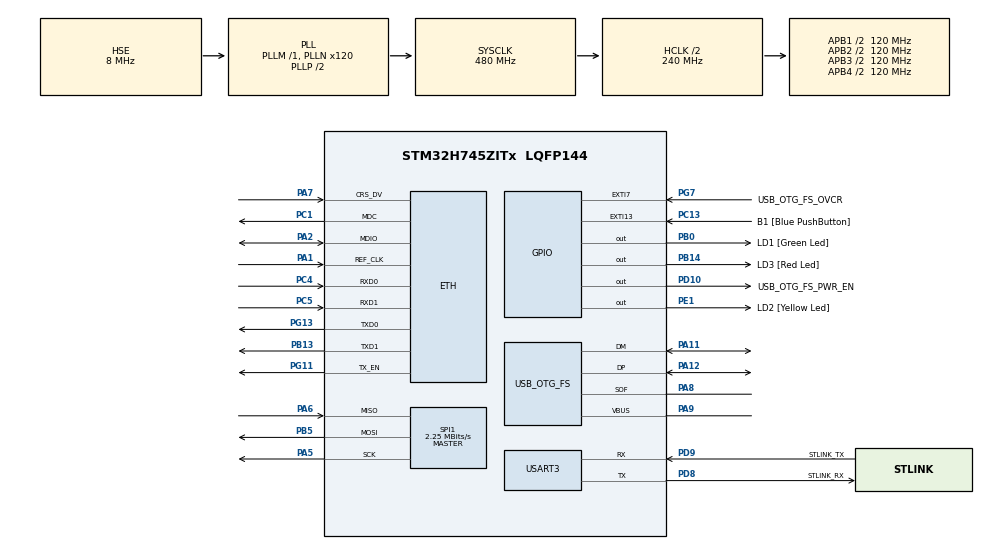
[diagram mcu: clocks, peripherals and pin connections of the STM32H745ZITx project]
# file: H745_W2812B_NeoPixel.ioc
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CortexM4.IPs=FATFS_M4\:I,FREERTOS_M4\:I,IWDG2\:I,RCC,WWDG2\:I,DMA,BDMA,MDMA,NVIC2\:I,USART3,ETH,DEBUG,USB_DEVICE_M4\:I,USB_HOST_M4\:I,PDM2PCM_M4\:I,PWR,RESMGR_UTILITY,SYS_M4\:I,CORTEX_M4\:I,OPENAMP_M4\:I,VREFBUF,GPIO
CortexM7.IPs=FATFS_M7\:I,FREERTOS_M7\:I,IWDG1\:I,RCC\:I,WWDG1\:I,DMA\:I,BDMA\:I,MDMA\:I,NVIC1\:I,SYS\:I,USART3\:I,USB_OTG_FS\:I,ETH\:I,CORTEX_M7\:I,DEBUG\:I,USB_DEVICE_M7\:I,USB_HOST_M7\:I,PDM2PCM_M7\:I,PWR\:I,RESMGR_UTILITY\:I,OPENAMP_M7\:I,VREFBUF\:I,GPIO\:I,SPI1\:I
CortexM7.Pins=PC13,PB14,PE1
Dma.Request0=SPI1_TX
Dma.SPI1_TX.0.Direction=DMA_MEMORY_TO_PERIPH
Dma.SPI1_TX.0.EventEnable=DISABLE
Dma.SPI1_TX.0.FIFOMode=DMA_FIFOMODE_DISABLE
Dma.SPI1_TX.0.Instance=DMA1_Stream0
Dma.SPI1_TX.0.MemDataAlignment=DMA_MDATAALIGN_BYTE
Dma.SPI1_TX.0.MemInc=DMA_MINC_ENABLE
Dma.SPI1_TX.0.Mode=DMA_CIRCULAR
Dma.SPI1_TX.0.PeriphDataAlignment=DMA_PDATAALIGN_BYTE
Dma.SPI1_TX.0.PeriphInc=DMA_PINC_DISABLE
Dma.SPI1_TX.0.Polarity=HAL_DMAMUX_REQ_GEN_RISING
Dma.SPI1_TX.0.Priority=DMA_PRIORITY_LOW
Dma.SPI1_TX.0.RequestNumber=1
Dma.SPI1_TX.0.SignalID=NONE
Dma.SPI1_TX.0.SyncEnable=DISABLE
Dma.SPI1_TX.0.SyncPolarity=HAL_DMAMUX_SYNC_NO_EVENT
Dma.SPI1_TX.0.SyncRequestNumber=1
Dma.SPI1_TX.0.SyncSignalID=NONE
ETH.MediaInterface=HAL_ETH_RMII_MODE
Mcu.Family=STM32H7
Mcu.Name=STM32H745ZITx
Mcu.Package=LQFP144
NVIC1.DMA1_Stream0_IRQn=true\:0\:0\:false\:false\:true\:false\:true\:true
NVIC1.EXTI15_10_IRQn=true\:0\:0\:false\:false\:true\:true\:true\:true
NVIC1.PriorityGroup=NVIC_PRIORITYGROUP_4
NVIC1.SPI1_IRQn=true\:0\:0\:false\:false\:true\:false\:true\:true
NVIC2.PriorityGroup=NVIC_PRIORITYGROUP_4
PA1.Mode=RMII
PA1.PinAttribute=CortexM7
PA1.Signal=ETH_REF_CLK
PA11.Mode=Device_Only
PA11.PinAttribute=CortexM7
PA11.Signal=USB_OTG_FS_DM
PA12.Mode=Device_Only
PA12.PinAttribute=CortexM7
PA12.Signal=USB_OTG_FS_DP
PA2.Mode=RMII
PA2.PinAttribute=CortexM7
PA2.Signal=ETH_MDIO
PA5.Mode=Full_Duplex_Master
PA5.PinAttribute=CortexM7
PA5.Signal=SPI1_SCK
PA6.Mode=Full_Duplex_Master
PA6.PinAttribute=CortexM7
PA6.Signal=SPI1_MISO
PA7.Mode=RMII
PA7.PinAttribute=CortexM7
PA7.Signal=ETH_CRS_DV
PA8.Mode=Activate_SOF_FS
PA8.PinAttribute=CortexM7
PA8.Signal=USB_OTG_FS_SOF
PA9.Mode=Activate_VBUS
PA9.PinAttribute=CortexM7
PA9.Signal=USB_OTG_FS_VBUS
PB0.GPIO_Label=LD1 [Green Led]
PB0.PinAttribute=Free
PB0.Signal=GPIO_Output
PB13.Mode=RMII
PB13.PinAttribute=CortexM7
PB13.Signal=ETH_TXD1
PB14.GPIO_Label=LD3 [Red Led]
PB14.PinAttribute=CortexM7
PB14.Signal=GPIO_Output
PB5.GPIO_Speed=GPIO_SPEED_FREQ_VERY_HIGH
PB5.Mode=Full_Duplex_Master
PB5.PinAttribute=CortexM7
PB5.Signal=SPI1_MOSI
PC1.Mode=RMII
PC1.PinAttribute=CortexM7
PC1.Signal=ETH_MDC
PC13.GPIO_Label=B1 [Blue PushButton]
PC13.GPIO_ModeDefaultEXTI=GPIO_MODE_IT_FALLING
PC13.PinAttribute=CortexM7
PC13.Signal=GPXTI13
PC14-OSC32_IN\ (OSC32_IN).Mode=LSE-External-Oscillator
PC14-OSC32_IN\ (OSC32_IN).PinAttribute=CortexM7
PC14-OSC32_IN\ (OSC32_IN).Signal=RCC_OSC32_IN
PC15-OSC32_OUT\ (OSC32_OUT).Mode=LSE-External-Oscillator
PC15-OSC32_OUT\ (OSC32_OUT).PinAttribute=CortexM7
PC15-OSC32_OUT\ (OSC32_OUT).Signal=RCC_OSC32_OUT
PC4.Mode=RMII
PC4.PinAttribute=CortexM7
PC4.Signal=ETH_RXD0
PC5.Mode=RMII
PC5.PinAttribute=CortexM7
PC5.Signal=ETH_RXD1
PD10.GPIO_Label=USB_OTG_FS_PWR_EN
PD10.PinAttribute=Free
PD10.Signal=GPIO_Output
PD8.GPIO_Label=STLINK_RX
PD8.Mode=Asynchronous
PD8.PinAttribute=CortexM7
PD8.Signal=USART3_TX
PD9.GPIO_Label=STLINK_TX
PD9.Mode=Asynchronous
PD9.PinAttribute=CortexM7
PD9.Signal=USART3_RX
PE1.GPIO_Label=LD2 [Yellow Led]
PE1.PinAttribute=CortexM7
PE1.Signal=GPIO_Output
PG11.Mode=RMII
PG11.PinAttribute=CortexM7
PG11.Signal=ETH_TX_EN
PG13.Mode=RMII
PG13.PinAttribute=CortexM7
PG13.Signal=ETH_TXD0
PG7.GPIO_Label=USB_OTG_FS_OVCR
PG7.PinAttribute=Free
PG7.Signal=GPXTI7
PH0-OSC_IN\ (PH0).Mode=HSE-External-Clock-Source
PH0-OSC_IN\ (PH0).PinAttribute=CortexM7
PH0-OSC_IN\ (PH0).Signal=RCC_OSC_IN
PH1-OSC_OUT\ (PH1).PinAttribute=CortexM7
PH1-OSC_OUT\ (PH1).Signal=RCC_OSC_OUT
ProjectManager.HeapSize=M4-0x200,M7-0x200
ProjectManager.StackSize=M4-0x400,M7-0x400
ProjectManager.TargetToolchain=STM32CubeIDE
RCC.ADCFreq_Value=144000000
RCC.APB1Freq_Value=120000000
RCC.APB2Freq_Value=120000000
RCC.APB3Freq_Value=120000000
RCC.APB4Freq_Value=120000000
RCC.CortexFreq_Value=480000000
RCC.D1PPRE=RCC_APB3_DIV2
RCC.D2PPRE1=RCC_APB1_DIV2
RCC.D2PPRE2=RCC_APB2_DIV2
RCC.D3PPRE=RCC_APB4_DIV2
RCC.DIVM1=1
RCC.DIVM2=1
RCC.DIVM3=1
RCC.DIVN1=120
RCC.DIVN2=36
RCC.DIVN3=24
RCC.DIVQ3=4
RCC.HCLKFreq_Value=240000000
RCC.HPRE=RCC_HCLK_DIV2
RCC.HSE_VALUE=8000000
RCC.SPI123CLockSelection=RCC_SPI123CLKSOURCE_PLL2
RCC.SYSCLKFreq_VALUE=480000000
RCC.SYSCLKSource=RCC_SYSCLKSOURCE_PLLCLK
RCC.SupplySource=PWR_DIRECT_SMPS_SUPPLY
RCC.USBCLockSelection=RCC_USBCLKSOURCE_PLL3
RCC.USBFreq_Value=48000000
SPI1.BaudRatePrescaler=SPI_BAUDRATEPRESCALER_64
SPI1.CalculateBaudRate=2.25 MBits/s
SPI1.DataSize=SPI_DATASIZE_8BIT
SPI1.Direction=SPI_DIRECTION_2LINES
SPI1.Mode=SPI_MODE_MASTER
SPI1.VirtualType=VM_MASTER
USART3.VirtualMode-Asynchronous=VM_ASYNC
USB_OTG_FS.VirtualMode=Device_Only
VP_SYS_M4_VS_Systick.Mode=SysTick
board=NUCLEO-H745ZI-Q

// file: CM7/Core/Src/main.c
/* USER CODE BEGIN Header */
/**
  ******************************************************************************
  * @file           : main.c
  * @brief          : Main program body
  ******************************************************************************
  * @attention
  *
  * Copyright (c) 2022 STMicroelectronics.
  * All rights reserved.
  *
  * This software is licensed under terms that can be found in the LICENSE file
  * in the root directory of this software component.
  * If no LICENSE file comes with this software, it is provided AS-IS.
  *
  ******************************************************************************
  */
/* USER CODE END Header */
#include "main.h"
#include "string.h"

/* USER CODE BEGIN Includes */
#include "W2812B.h"
/* USER CODE END Includes */

/* USER CODE BEGIN PD */

#ifndef HSEM_ID_0
#define HSEM_ID_0 (0U) /* HW semaphore 0*/
#endif

#define NUM_LEDPixel 8
/* USER CODE END PD */

#if defined ( __ICCARM__ ) /*!< IAR Compiler */
#pragma location=0x30000000
ETH_DMADescTypeDef  DMARxDscrTab[ETH_RX_DESC_CNT]; /* Ethernet Rx DMA Descriptors */
#pragma location=0x30000200
ETH_DMADescTypeDef  DMATxDscrTab[ETH_TX_DESC_CNT]; /* Ethernet Tx DMA Descriptors */

#elif defined ( __CC_ARM )  /* MDK ARM Compiler */

__attribute__((at(0x30000000))) ETH_DMADescTypeDef  DMARxDscrTab[ETH_RX_DESC_CNT]; /* Ethernet Rx DMA Descriptors */
__attribute__((at(0x30000200))) ETH_DMADescTypeDef  DMATxDscrTab[ETH_TX_DESC_CNT]; /* Ethernet Tx DMA Descriptors */

#elif defined ( __GNUC__ ) /* GNU Compiler */
ETH_DMADescTypeDef DMARxDscrTab[ETH_RX_DESC_CNT] __attribute__((section(".RxDecripSection"))); /* Ethernet Rx DMA Descriptors */
ETH_DMADescTypeDef DMATxDscrTab[ETH_TX_DESC_CNT] __attribute__((section(".TxDecripSection")));   /* Ethernet Tx DMA Descriptors */

#endif

ETH_TxPacketConfig TxConfig;

ETH_HandleTypeDef heth;

SPI_HandleTypeDef hspi1;
DMA_HandleTypeDef hdma_spi1_tx;

UART_HandleTypeDef huart3;

PCD_HandleTypeDef hpcd_USB_OTG_FS;

/* USER CODE BEGIN PV */

W2812BStructure LED[NUM_LEDPixel]={0};
uint16_t colorVal[NUM_LEDPixel] = {0};
uint16_t RGBVal[NUM_LEDPixel][3] = {0};
uint8_t counter = 0;
/* USER CODE END PV */

void SystemClock_Config(void);
static void MX_GPIO_Init(void);
static void MX_ETH_Init(void);
static void MX_USART3_UART_Init(void);
static void MX_USB_OTG_FS_PCD_Init(void);
static void MX_DMA_Init(void);
static void MX_SPI1_Init(void);
/* USER CODE BEGIN PFP */
void RainbowGen_NeoPixel();
void HtoRGB_myrend();
void Hex2RGBB_myrend();
/* USER CODE END PFP */

int main(void)
{
/* USER CODE BEGIN Boot_Mode_Sequence_0 */
  int32_t timeout;
/* USER CODE END Boot_Mode_Sequence_0 */

/* USER CODE BEGIN Boot_Mode_Sequence_1 */
  /* Wait until CPU2 boots and enters in stop mode or timeout*/
  timeout = 0xFFFF;
  while((__HAL_RCC_GET_FLAG(RCC_FLAG_D2CKRDY) != RESET) && (timeout-- > 0));
  if ( timeout < 0 )
  {
  Error_Handler();
  }
/* USER CODE END Boot_Mode_Sequence_1 */
  /* MCU Configuration--------------------------------------------------------*/

  /* Reset of all peripherals, Initializes the Flash interface and the Systick. */
  HAL_Init();

  /* Configure the system clock */
  SystemClock_Config();
/* USER CODE BEGIN Boot_Mode_Sequence_2 */
/* When system initialization is finished, Cortex-M7 will release Cortex-M4 by means of
HSEM notification */
/*HW semaphore Clock enable*/
__HAL_RCC_HSEM_CLK_ENABLE();
/*Take HSEM */
HAL_HSEM_FastTake(HSEM_ID_0);
/*Release HSEM in order to notify the CPU2(CM4)*/
HAL_HSEM_Release(HSEM_ID_0,0);
/* wait until CPU2 wakes up from stop mode */
timeout = 0xFFFF;
while((__HAL_RCC_GET_FLAG(RCC_FLAG_D2CKRDY) == RESET) && (timeout-- > 0));
if ( timeout < 0 )
{
Error_Handler();
}
/* USER CODE END Boot_Mode_Sequence_2 */

  /* Initialize all configured peripherals */
  MX_GPIO_Init();
  MX_ETH_Init();
  MX_USART3_UART_Init();
  MX_USB_OTG_FS_PCD_Init();
  MX_DMA_Init();
  MX_SPI1_Init();
  /* USER CODE BEGIN 2 */

  // set output  open drain - cant do in .ioc
  GPIOB->OTYPER = GPIOB->OTYPER | GPIO_PIN_5;
  // hal spi for Neopixel start
   W2812B_Init(&hspi1);
  /* USER CODE END 2 */

  /* Infinite loop */
  /* USER CODE BEGIN WHILE */
  while (1)
  {
	  //// H7 2 core init test

    /* USER CODE END WHILE */

    /* USER CODE BEGIN 3 */
	  HAL_GPIO_TogglePin(LD2_GPIO_Port, LD2_Pin);
	  HAL_Delay(10);

		if(counter==0){
			Hex2RGBB_myrend();

		}else if(counter==1){
			RainbowGen_NeoPixel();
		}
		else{
			HtoRGB_myrend();
		}
	  W2812B_UpdateData(LED);

	  HAL_GPIO_TogglePin(LD3_GPIO_Port, LD3_Pin);
  }
  /* USER CODE END 3 */
}

void SystemClock_Config(void)
{
  RCC_OscInitTypeDef RCC_OscInitStruct = {0};
  RCC_ClkInitTypeDef RCC_ClkInitStruct = {0};

  /** Supply configuration update enable
  */
  HAL_PWREx_ConfigSupply(PWR_DIRECT_SMPS_SUPPLY);

  /** Configure the main internal regulator output voltage
  */
  __HAL_PWR_VOLTAGESCALING_CONFIG(PWR_REGULATOR_VOLTAGE_SCALE0);

  while(!__HAL_PWR_GET_FLAG(PWR_FLAG_VOSRDY)) {}

  /** Macro to configure the PLL clock source
  */
  __HAL_RCC_PLL_PLLSOURCE_CONFIG(RCC_PLLSOURCE_HSE);

  /** Initializes the RCC Oscillators according to the specified parameters
  * in the RCC_OscInitTypeDef structure.
  */
  RCC_OscInitStruct.OscillatorType = RCC_OSCILLATORTYPE_HSE;
  RCC_OscInitStruct.HSEState = RCC_HSE_BYPASS;
  RCC_OscInitStruct.PLL.PLLState = RCC_PLL_ON;
  RCC_OscInitStruct.PLL.PLLSource = RCC_PLLSOURCE_HSE;
  RCC_OscInitStruct.PLL.PLLM = 1;
  RCC_OscInitStruct.PLL.PLLN = 120;
  RCC_OscInitStruct.PLL.PLLP = 2;
  RCC_OscInitStruct.PLL.PLLQ = 2;
  RCC_OscInitStruct.PLL.PLLR = 2;
  RCC_OscInitStruct.PLL.PLLRGE = RCC_PLL1VCIRANGE_3;
  RCC_OscInitStruct.PLL.PLLVCOSEL = RCC_PLL1VCOWIDE;
  RCC_OscInitStruct.PLL.PLLFRACN = 0;
  if (HAL_RCC_OscConfig(&RCC_OscInitStruct) != HAL_OK)
  {
    Error_Handler();
  }

  /** Initializes the CPU, AHB and APB buses clocks
  */
  RCC_ClkInitStruct.ClockType = RCC_CLOCKTYPE_HCLK|RCC_CLOCKTYPE_SYSCLK
                              |RCC_CLOCKTYPE_PCLK1|RCC_CLOCKTYPE_PCLK2
                              |RCC_CLOCKTYPE_D3PCLK1|RCC_CLOCKTYPE_D1PCLK1;
  RCC_ClkInitStruct.SYSCLKSource = RCC_SYSCLKSOURCE_PLLCLK;
  RCC_ClkInitStruct.SYSCLKDivider = RCC_SYSCLK_DIV1;
  RCC_ClkInitStruct.AHBCLKDivider = RCC_HCLK_DIV2;
  RCC_ClkInitStruct.APB3CLKDivider = RCC_APB3_DIV2;
  RCC_ClkInitStruct.APB1CLKDivider = RCC_APB1_DIV2;
  RCC_ClkInitStruct.APB2CLKDivider = RCC_APB2_DIV2;
  RCC_ClkInitStruct.APB4CLKDivider = RCC_APB4_DIV2;

  if (HAL_RCC_ClockConfig(&RCC_ClkInitStruct, FLASH_LATENCY_4) != HAL_OK)
  {
    Error_Handler();
  }
}

static void MX_ETH_Init(void)
{

   static uint8_t MACAddr[6];

  heth.Instance = ETH;
  MACAddr[0] = 0x00;
  MACAddr[1] = 0x80;
  MACAddr[2] = 0xE1;
  MACAddr[3] = 0x00;
  MACAddr[4] = 0x00;
  MACAddr[5] = 0x00;
  heth.Init.MACAddr = &MACAddr[0];
  heth.Init.MediaInterface = HAL_ETH_RMII_MODE;
  heth.Init.TxDesc = DMATxDscrTab;
  heth.Init.RxDesc = DMARxDscrTab;
  heth.Init.RxBuffLen = 1524;

  if (HAL_ETH_Init(&heth) != HAL_OK)
  {
    Error_Handler();
  }

  memset(&TxConfig, 0 , sizeof(ETH_TxPacketConfig));
  TxConfig.Attributes = ETH_TX_PACKETS_FEATURES_CSUM | ETH_TX_PACKETS_FEATURES_CRCPAD;
  TxConfig.ChecksumCtrl = ETH_CHECKSUM_IPHDR_PAYLOAD_INSERT_PHDR_CALC;
  TxConfig.CRCPadCtrl = ETH_CRC_PAD_INSERT;

}

static void MX_SPI1_Init(void)
{

  /* SPI1 parameter configuration*/
  hspi1.Instance = SPI1;
  hspi1.Init.Mode = SPI_MODE_MASTER;
  hspi1.Init.Direction = SPI_DIRECTION_2LINES;
  hspi1.Init.DataSize = SPI_DATASIZE_8BIT;
  hspi1.Init.CLKPolarity = SPI_POLARITY_LOW;
  hspi1.Init.CLKPhase = SPI_PHASE_1EDGE;
  hspi1.Init.NSS = SPI_NSS_SOFT;
  hspi1.Init.BaudRatePrescaler = SPI_BAUDRATEPRESCALER_64;
  hspi1.Init.FirstBit = SPI_FIRSTBIT_MSB;
  hspi1.Init.TIMode = SPI_TIMODE_DISABLE;
  hspi1.Init.CRCCalculation = SPI_CRCCALCULATION_DISABLE;
  hspi1.Init.CRCPolynomial = 0x0;
  hspi1.Init.NSSPMode = SPI_NSS_PULSE_ENABLE;
  hspi1.Init.NSSPolarity = SPI_NSS_POLARITY_LOW;
  hspi1.Init.FifoThreshold = SPI_FIFO_THRESHOLD_01DATA;
  hspi1.Init.TxCRCInitializationPattern = SPI_CRC_INITIALIZATION_ALL_ZERO_PATTERN;
  hspi1.Init.RxCRCInitializationPattern = SPI_CRC_INITIALIZATION_ALL_ZERO_PATTERN;
  hspi1.Init.MasterSSIdleness = SPI_MASTER_SS_IDLENESS_00CYCLE;
  hspi1.Init.MasterInterDataIdleness = SPI_MASTER_INTERDATA_IDLENESS_00CYCLE;
  hspi1.Init.MasterReceiverAutoSusp = SPI_MASTER_RX_AUTOSUSP_DISABLE;
  hspi1.Init.MasterKeepIOState = SPI_MASTER_KEEP_IO_STATE_DISABLE;
  hspi1.Init.IOSwap = SPI_IO_SWAP_DISABLE;
  if (HAL_SPI_Init(&hspi1) != HAL_OK)
  {
    Error_Handler();
  }

}

static void MX_USART3_UART_Init(void)
{

  huart3.Instance = USART3;
  huart3.Init.BaudRate = 115200;
  huart3.Init.WordLength = UART_WORDLENGTH_8B;
  huart3.Init.StopBits = UART_STOPBITS_1;
  huart3.Init.Parity = UART_PARITY_NONE;
  huart3.Init.Mode = UART_MODE_TX_RX;
  huart3.Init.HwFlowCtl = UART_HWCONTROL_NONE;
  huart3.Init.OverSampling = UART_OVERSAMPLING_16;
  huart3.Init.OneBitSampling = UART_ONE_BIT_SAMPLE_DISABLE;
  huart3.Init.ClockPrescaler = UART_PRESCALER_DIV1;
  huart3.AdvancedInit.AdvFeatureInit = UART_ADVFEATURE_NO_INIT;
  if (HAL_UART_Init(&huart3) != HAL_OK)
  {
    Error_Handler();
  }
  if (HAL_UARTEx_SetTxFifoThreshold(&huart3, UART_TXFIFO_THRESHOLD_1_8) != HAL_OK)
  {
    Error_Handler();
  }
  if (HAL_UARTEx_SetRxFifoThreshold(&huart3, UART_RXFIFO_THRESHOLD_1_8) != HAL_OK)
  {
    Error_Handler();
  }
  if (HAL_UARTEx_DisableFifoMode(&huart3) != HAL_OK)
  {
    Error_Handler();
  }

}

static void MX_USB_OTG_FS_PCD_Init(void)
{

  hpcd_USB_OTG_FS.Instance = USB_OTG_FS;
  hpcd_USB_OTG_FS.Init.dev_endpoints = 9;
  hpcd_USB_OTG_FS.Init.speed = PCD_SPEED_FULL;
  hpcd_USB_OTG_FS.Init.dma_enable = DISABLE;
  hpcd_USB_OTG_FS.Init.phy_itface = PCD_PHY_EMBEDDED;
  hpcd_USB_OTG_FS.Init.Sof_enable = DISABLE;
  hpcd_USB_OTG_FS.Init.low_power_enable = DISABLE;
  hpcd_USB_OTG_FS.Init.lpm_enable = DISABLE;
  hpcd_USB_OTG_FS.Init.battery_charging_enable = ENABLE;
  hpcd_USB_OTG_FS.Init.vbus_sensing_enable = ENABLE;
  hpcd_USB_OTG_FS.Init.use_dedicated_ep1 = DISABLE;
  if (HAL_PCD_Init(&hpcd_USB_OTG_FS) != HAL_OK)
  {
    Error_Handler();
  }

}

static void MX_DMA_Init(void)
{

  /* DMA controller clock enable */
  __HAL_RCC_DMA1_CLK_ENABLE();

  /* DMA interrupt init */
  /* DMA1_Stream0_IRQn interrupt configuration */
  HAL_NVIC_SetPriority(DMA1_Stream0_IRQn, 0, 0);
  HAL_NVIC_EnableIRQ(DMA1_Stream0_IRQn);

}

static void MX_GPIO_Init(void)
{
  GPIO_InitTypeDef GPIO_InitStruct = {0};

  /* GPIO Ports Clock Enable */
  __HAL_RCC_GPIOC_CLK_ENABLE();
  __HAL_RCC_GPIOH_CLK_ENABLE();
  __HAL_RCC_GPIOA_CLK_ENABLE();
  __HAL_RCC_GPIOB_CLK_ENABLE();
  __HAL_RCC_GPIOD_CLK_ENABLE();
  __HAL_RCC_GPIOG_CLK_ENABLE();
  __HAL_RCC_GPIOE_CLK_ENABLE();

  /*Configure GPIO pin Output Level */
  HAL_GPIO_WritePin(LD3_GPIO_Port, LD3_Pin, GPIO_PIN_RESET);

  /*Configure GPIO pin Output Level */
  HAL_GPIO_WritePin(LD2_GPIO_Port, LD2_Pin, GPIO_PIN_RESET);

  /*Configure GPIO pin : B1_Pin */
  GPIO_InitStruct.Pin = B1_Pin;
  GPIO_InitStruct.Mode = GPIO_MODE_IT_FALLING;
  GPIO_InitStruct.Pull = GPIO_NOPULL;
  HAL_GPIO_Init(B1_GPIO_Port, &GPIO_InitStruct);

  /*Configure GPIO pin : LD3_Pin */
  GPIO_InitStruct.Pin = LD3_Pin;
  GPIO_InitStruct.Mode = GPIO_MODE_OUTPUT_PP;
  GPIO_InitStruct.Pull = GPIO_NOPULL;
  GPIO_InitStruct.Speed = GPIO_SPEED_FREQ_LOW;
  HAL_GPIO_Init(LD3_GPIO_Port, &GPIO_InitStruct);

  /*Configure GPIO pin : LD2_Pin */
  GPIO_InitStruct.Pin = LD2_Pin;
  GPIO_InitStruct.Mode = GPIO_MODE_OUTPUT_PP;
  GPIO_InitStruct.Pull = GPIO_NOPULL;
  GPIO_InitStruct.Speed = GPIO_SPEED_FREQ_LOW;
  HAL_GPIO_Init(LD2_GPIO_Port, &GPIO_InitStruct);

  /* EXTI interrupt init*/
  HAL_NVIC_SetPriority(EXTI15_10_IRQn, 0, 0);
  HAL_NVIC_EnableIRQ(EXTI15_10_IRQn);

}

/* USER CODE BEGIN 4 */

void RainbowGen_NeoPixel(){
	if(counter==1){
	static int h =0;

	for (int i = 0; i < NUM_LEDPixel; i++) {

		  			HToRGB((h + 192*i) % 1536, &LED[i]);
		  		}

		  		h++;
		  		h%=1536;
		}
}

void HtoRGB_myrend(){

	////// Insert R G B into [LED] Directly is enable and more OK
	//// Sample of inserting config
	LED[0].R = 0;
	LED[0].G = 0;
	LED[0].B = 0;

	LED[1].R = 10;
	LED[1].G = 0;
	LED[1].B = 0;

	LED[2].R = 0;
	LED[2].G = 10;
	LED[2].B = 0;

	LED[3].R = 0;
	LED[3].G = 0;
	LED[3].B = 10;

	LED[4].R = 0;
	LED[4].G = 10;
	LED[4].B = 10;

	LED[5].R = 10;
	LED[5].G = 0;
	LED[5].B = 10;

	LED[6].R = 10;
	LED[6].G = 10;
	LED[6].B = 0;

	LED[7].R = 10;
	LED[7].G = 10;
	LED[7].B = 10;
}

void Hex2RGBB_myrend(){
	////// use 55 to not too bright -> it distrub my eyes Arghhh
	HexToRGB_cat(0x000000, &LED[0]); // Black (no light)
	HexToRGB_cat(0x550000, &LED[1]); // RED
	HexToRGB_cat(0x005500, &LED[2]); // Green
	HexToRGB_cat(0x000055, &LED[3]); // Blue
	HexToRGB_cat(0x005555, &LED[4]); // Cyan blue
	HexToRGB_cat(0x550055, &LED[5]); // Magenta pink
	HexToRGB_cat(0x555500, &LED[6]); // Yellow
	HexToRGB_cat(0x555555, &LED[7]); // K White
}
void HAL_GPIO_EXTI_Callback(uint16_t GPIO_Pin){

	//=========// work Blue button //=========//
	if(GPIO_Pin == GPIO_PIN_13){
//
//		if(counter==0){
//			Hex2RGBB_myrend();
//
//		}else if(counter==1){
//			RainbowGen_NeoPixel();
//		}
//		else{
//			HtoRGB_myrend();
//		}
		//W2812B_UpdateData(LED);
		counter++; // test
		counter%=3;
		}

	}
/* USER CODE END 4 */

void Error_Handler(void)
{
  __disable_irq();
  while (1)
  {
  }
}
